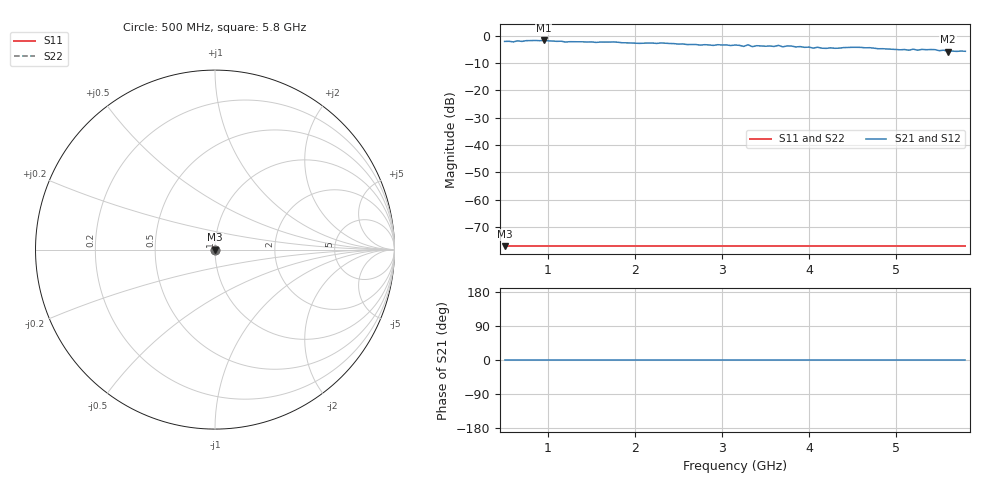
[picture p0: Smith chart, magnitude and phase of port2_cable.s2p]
# GHZ S RI R 50
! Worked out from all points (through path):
!   107 points, 500 MHz to 5.8 GHz, reference 50 ohm
!   highest |S21| = -1.77 dB at 950 MHz (marker M1); lowest = -5.8 dB at 5.6 GHz (marker M2)
!   lowest |S11| = -77.0 dB at 500 MHz (marker M3), VSWR 1.00, Z = 50 + j0.01 ohm
!   |S11| at or under -10 dB: start of sweep to end of sweep
!   |S22| runs from -77.0 to -77.0 dB; largest |S21 - S12| = 0
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0.5  0.0001 0.0001  0.7839 0  0.7839 0  0.0001 0.0001
0.6  0.0001 0.0001  0.7674 0  0.7674 0  0.0001 0.0001
0.65  0.0001 0.0001  0.8031 0  0.8031 0  0.0001 0.0001
0.95  0.0001 0.0001  0.8155 0  0.8155 0  0.0001 0.0001
1.2  0.0001 0.0001  0.7635 0  0.7635 0  0.0001 0.0001
1.4  0.0001 0.0001  0.77 0  0.77 0  0.0001 0.0001
2.3  0.0001 0.0001  0.7343 0  0.7343 0  0.0001 0.0001
2.75  0.0001 0.0001  0.6704 0  0.6704 0  0.0001 0.0001
3.15  0.0001 0.0001  0.6734 0  0.6734 0  0.0001 0.0001
3.25  0.0001 0.0001  0.6347 0  0.6347 0  0.0001 0.0001
3.3  0.0001 0.0001  0.6805 0  0.6805 0  0.0001 0.0001
3.35  0.0001 0.0001  0.6279 0  0.6279 0  0.0001 0.0001
3.6  0.0001 0.0001  0.6336 0  0.6336 0  0.0001 0.0001
3.65  0.0001 0.0001  0.6629 0  0.6629 0  0.0001 0.0001
3.7  0.0001 0.0001  0.6231 0  0.6231 0  0.0001 0.0001
3.8  0.0001 0.0001  0.6442 0  0.6442 0  0.0001 0.0001
4.05  0.0001 0.0001  0.5907 0  0.5907 0  0.0001 0.0001
4.55  0.0001 0.0001  0.6112 0  0.6112 0  0.0001 0.0001
4.95  0.0001 0.0001  0.5638 0  0.5638 0  0.0001 0.0001
5.45  0.0001 0.0001  0.5542 0  0.5542 0  0.0001 0.0001
5.6  0.0001 0.0001  0.5118 0  0.5118 0  0.0001 0.0001
5.8  0.0001 0.0001  0.517 0  0.517 0  0.0001 0.0001
